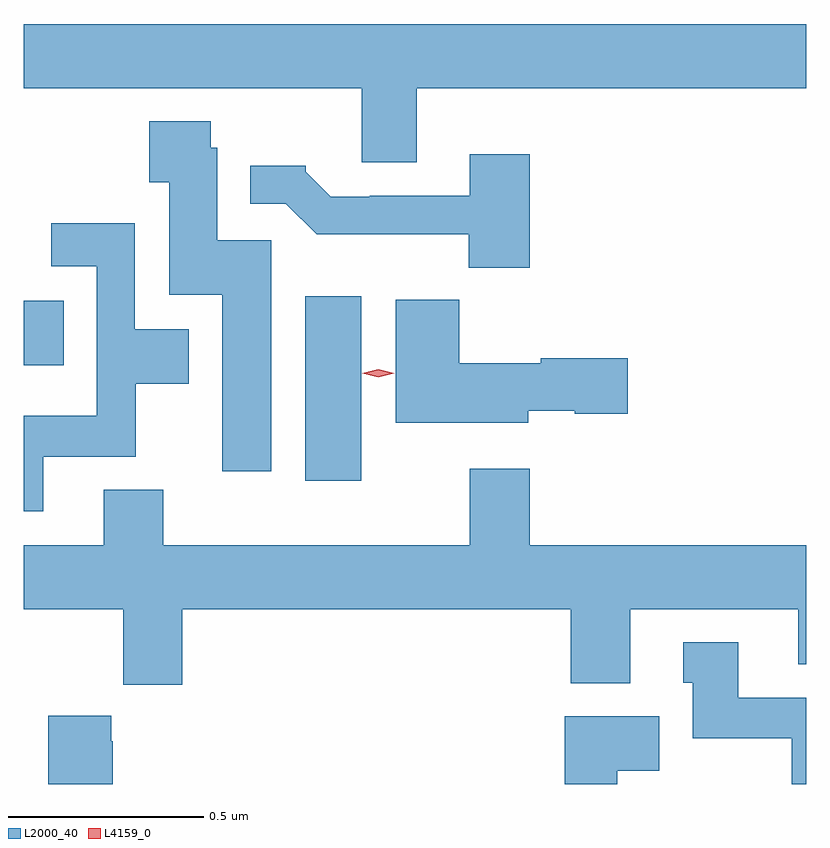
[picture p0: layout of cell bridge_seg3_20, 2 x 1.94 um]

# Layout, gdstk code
import gdstk
lib = gdstk.Library(unit=1e-6, precision=1e-09)
def R(c, l, rs):  # rectangles x0, y0, x1, y1
    for r in rs: c.add(gdstk.rectangle(r[:2], r[2:], *l))
def P(c, l, *ps):  # polygons
    for p in ps: c.add(gdstk.Polygon(p, *l))
L2000_40 = (2000, 40)
L4159_0 = (4159, 0)

bridge_seg3_20 = lib.new_cell('bridge_seg3_20')
R(bridge_seg3_20, L2000_40, [(770.969,718.56,771.112,719.032), (770.249,718.856,770.351,719.02)])
P(bridge_seg3_20, L2000_40, [(771.253,719.564),(772.249,719.564),(772.249,719.728),(770.249,719.728),(770.249,719.564),(771.113,719.564),(771.113,719.374),(771.253,719.374)],
  [(770.881,719.175),(770.743,719.175),(770.743,719.412),(770.727,719.412),(770.727,719.479),(770.57,719.479),(770.57,719.323),(770.621,719.323),(770.621,719.036),(770.756,719.036),(770.756,718.584),(770.881,718.584)],
  [(771.542,719.395),(771.389,719.395),(771.389,719.289),(771.133,719.289),(771.133,719.286),(771.034,719.286),(770.97,719.35),(770.97,719.365),(770.828,719.365),(770.828,719.268),(770.919,719.268),(770.998,719.19),(771.387,719.19),(771.387,719.105),(771.542,719.105)],
  [(770.299,718.622),(770.535,718.622),(770.535,718.808),(770.671,718.808),(770.671,718.948),(770.532,718.948),(770.532,719.218),(770.319,719.218),(770.319,719.109),(770.436,719.109),(770.436,718.726),(770.249,718.726),(770.249,718.482),(770.299,718.482)],
  [(771.538,718.739),(771.657,718.739),(771.657,718.732),(771.793,718.732),(771.793,718.874),(771.57,718.874),(771.57,718.861),(771.362,718.861),(771.362,719.023),(771.2,719.023),(771.2,718.709),(771.538,718.709)],
  [(770.654,718.232),(771.647,718.232),(771.647,718.043),(771.799,718.043),(771.799,718.232),(772.229,718.232),(772.229,718.091),(772.249,718.091),(772.249,718.396),(771.542,718.396),(771.542,718.591),(771.389,718.591),(771.389,718.396),(770.606,718.396),(770.606,718.537),(770.453,718.537),(770.453,718.396),(770.249,718.396),(770.249,718.232),(770.503,718.232),(770.503,718.039),(770.654,718.039)],
  [(772.249,718.006),(772.075,718.006),(772.075,718.147),(771.935,718.147),(771.935,718.044),(771.959,718.044),(771.959,717.902),(772.212,717.902),(772.212,717.785),(772.249,717.785)],
  [(770.476,717.894),(770.473,717.894),(770.473,717.959),(770.312,717.959),(770.312,717.785),(770.476,717.785)],
  [(771.766,717.819),(771.874,717.819),(771.874,717.958),(771.632,717.958),(771.632,717.785),(771.766,717.785)])
P(bridge_seg3_20, L4159_0, [(771.155,718.825),(771.114,718.835),(771.114,718.835),(771.114,718.835),(771.155,718.845),(771.196,718.835),(771.196,718.835),(771.196,718.835)])

lib.write_gds('bridge_seg3_20.gds')
